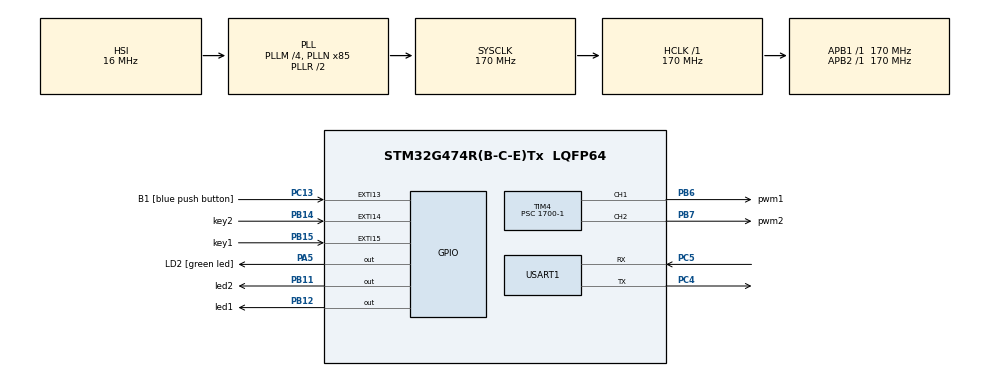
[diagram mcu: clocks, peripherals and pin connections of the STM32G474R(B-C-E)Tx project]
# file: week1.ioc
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Dma.Request0=USART1_RX
Dma.Request1=USART1_TX
Dma.USART1_RX.0.Direction=DMA_PERIPH_TO_MEMORY
Dma.USART1_RX.0.EventEnable=DISABLE
Dma.USART1_RX.0.Instance=DMA1_Channel1
Dma.USART1_RX.0.MemDataAlignment=DMA_MDATAALIGN_BYTE
Dma.USART1_RX.0.MemInc=DMA_MINC_ENABLE
Dma.USART1_RX.0.Mode=DMA_NORMAL
Dma.USART1_RX.0.PeriphDataAlignment=DMA_PDATAALIGN_BYTE
Dma.USART1_RX.0.PeriphInc=DMA_PINC_DISABLE
Dma.USART1_RX.0.Polarity=HAL_DMAMUX_REQ_GEN_RISING
Dma.USART1_RX.0.Priority=DMA_PRIORITY_LOW
Dma.USART1_RX.0.RequestNumber=1
Dma.USART1_RX.0.SignalID=NONE
Dma.USART1_RX.0.SyncEnable=DISABLE
Dma.USART1_RX.0.SyncPolarity=HAL_DMAMUX_SYNC_NO_EVENT
Dma.USART1_RX.0.SyncRequestNumber=1
Dma.USART1_RX.0.SyncSignalID=NONE
Dma.USART1_TX.1.Direction=DMA_MEMORY_TO_PERIPH
Dma.USART1_TX.1.EventEnable=DISABLE
Dma.USART1_TX.1.Instance=DMA1_Channel2
Dma.USART1_TX.1.MemDataAlignment=DMA_MDATAALIGN_BYTE
Dma.USART1_TX.1.MemInc=DMA_MINC_ENABLE
Dma.USART1_TX.1.Mode=DMA_NORMAL
Dma.USART1_TX.1.PeriphDataAlignment=DMA_PDATAALIGN_BYTE
Dma.USART1_TX.1.PeriphInc=DMA_PINC_DISABLE
Dma.USART1_TX.1.Polarity=HAL_DMAMUX_REQ_GEN_RISING
Dma.USART1_TX.1.Priority=DMA_PRIORITY_LOW
Dma.USART1_TX.1.RequestNumber=1
Dma.USART1_TX.1.SignalID=NONE
Dma.USART1_TX.1.SyncEnable=DISABLE
Dma.USART1_TX.1.SyncPolarity=HAL_DMAMUX_SYNC_NO_EVENT
Dma.USART1_TX.1.SyncRequestNumber=1
Dma.USART1_TX.1.SyncSignalID=NONE
Mcu.Family=STM32G4
Mcu.Name=STM32G474R(B-C-E)Tx
Mcu.Package=LQFP64
NVIC.DMA1_Channel1_IRQn=true\:0\:0\:false\:false\:true\:false\:true\:true
NVIC.DMA1_Channel2_IRQn=true\:0\:0\:false\:false\:true\:false\:true\:true
NVIC.EXTI15_10_IRQn=true\:11\:0\:true\:false\:true\:true\:true\:true
NVIC.PriorityGroup=NVIC_PRIORITYGROUP_4
NVIC.TIM2_IRQn=true\:12\:0\:true\:false\:true\:true\:true\:true
NVIC.TIM3_IRQn=true\:13\:0\:true\:false\:true\:true\:true\:true
NVIC.USART1_IRQn=true\:14\:0\:true\:false\:true\:true\:true\:true
PA13.GPIO_Label=T_SWDIO
PA13.Mode=Serial_Wire
PA13.Signal=SYS_JTMS-SWDIO
PA14.GPIO_Label=T_SWCLK
PA14.Mode=Serial_Wire
PA14.Signal=SYS_JTCK-SWCLK
PA2.GPIO_Label=LPUART1_TX [STLINKV3E_VCP_RX]
PA2.Signal=LPUART1_TX
PA3.GPIO_Label=LPUART1_RX [STLINKV3E_VCP_TX]
PA3.Signal=LPUART1_RX
PA5.GPIO_Label=LD2 [green led]
PA5.PinState=GPIO_PIN_SET
PA5.Signal=GPIO_Output
PB11.GPIO_Label=led2
PB11.PinState=GPIO_PIN_SET
PB11.Signal=GPIO_Output
PB12.GPIO_Label=led1
PB12.PinState=GPIO_PIN_SET
PB12.Signal=GPIO_Output
PB14.GPIO_Label=key2
PB14.GPIO_ModeDefaultEXTI=GPIO_MODE_IT_FALLING
PB14.Signal=GPXTI14
PB15.GPIO_Label=key1
PB15.GPIO_ModeDefaultEXTI=GPIO_MODE_IT_FALLING
PB15.Signal=GPXTI15
PB3.GPIO_Label=T_SWO
PB3.Signal=SYS_JTDO-SWO
PB6.GPIO_Label=pwm1
PB6.Signal=S_TIM4_CH1
PB7.GPIO_Label=pwm2
PB7.Signal=S_TIM4_CH2
PB9.Signal=S_TIM4_CH4
PC13.GPIO_Label=B1 [blue push button]
PC13.Signal=GPXTI13
PC14-OSC32_IN.GPIO_Label=RCC_OSC32_IN
PC14-OSC32_IN.Mode=LSE-External-Oscillator
PC14-OSC32_IN.Signal=RCC_OSC32_IN
PC15-OSC32_OUT.GPIO_Label=RCC_OSC32_OUT
PC15-OSC32_OUT.Mode=LSE-External-Oscillator
PC15-OSC32_OUT.Signal=RCC_OSC32_OUT
PC4.Mode=Asynchronous
PC4.Signal=USART1_TX
PC5.Mode=Asynchronous
PC5.Signal=USART1_RX
PF0-OSC_IN.GPIO_Label=RCC_OSC_IN
PF0-OSC_IN.Mode=HSE-External-Oscillator
PF0-OSC_IN.Signal=RCC_OSC_IN
PF1-OSC_OUT.GPIO_Label=RCC_OSC_OUT
PF1-OSC_OUT.Mode=HSE-External-Oscillator
PF1-OSC_OUT.Signal=RCC_OSC_OUT
ProjectManager.HeapSize=0x200
ProjectManager.StackSize=0x400
ProjectManager.TargetToolchain=CMake
RCC.ADC12Freq_Value=170000000
RCC.ADC345Freq_Value=170000000
RCC.AHBFreq_Value=170000000
RCC.APB1Freq_Value=170000000
RCC.APB1TimFreq_Value=170000000
RCC.APB2Freq_Value=170000000
RCC.APB2TimFreq_Value=170000000
RCC.CortexFreq_Value=170000000
RCC.EXTERNAL_CLOCK_VALUE=12288000
RCC.HCLKFreq_Value=170000000
RCC.HSE_VALUE=24000000
RCC.HSI48_VALUE=48000000
RCC.HSI_VALUE=16000000
RCC.PLLM=RCC_PLLM_DIV4
RCC.PLLN=85
RCC.RTCClockSelection=RCC_RTCCLKSOURCE_LSE
RCC.SYSCLKFreq_VALUE=170000000
RCC.SYSCLKSource=RCC_SYSCLKSOURCE_PLLCLK
RCC.USBFreq_Value=170000000
RCC.VCOOutputFreq_Value=340000000
SH.S_TIM4_CH1.0=TIM4_CH1,PWM Generation1 CH1
SH.S_TIM4_CH2.0=TIM4_CH2,PWM Generation2 CH2
SH.S_TIM4_CH4.0=TIM4_CH4
TIM2.PeriodNoDither=100-1
TIM2.Prescaler=1700-1
TIM3.PeriodNoDither=50000-1
TIM3.Prescaler=1700-1
TIM4.Channel-PWM\ Generation1\ CH1=TIM_CHANNEL_1
TIM4.Channel-PWM\ Generation2\ CH2=TIM_CHANNEL_2
TIM4.PeriodNoDither=100-1
TIM4.Prescaler=1700-1
TIM4.PulseNoDither_1=0
USART1.VirtualMode-Asynchronous=VM_ASYNC
VP_SYS_VS_DBSignals.Mode=DisableDeadBatterySignals
VP_TIM2_VS_ClockSourceINT.Mode=Internal
VP_TIM3_VS_ClockSourceINT.Mode=Internal
board=NUCLEO-G474RE

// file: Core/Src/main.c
/* USER CODE BEGIN Header */
/**
  ******************************************************************************
  * @file           : main.c
  * @brief          : Main program body
  ******************************************************************************
  * @attention
  *
  * Copyright (c) 2025 STMicroelectronics.
  * All rights reserved.
  *
  * This software is licensed under terms that can be found in the LICENSE file
  * in the root directory of this software component.
  * If no LICENSE file comes with this software, it is provided AS-IS.
  *
  ******************************************************************************
  */
/* USER CODE END Header */
#include "main.h"
#include "dma.h"
#include "tim.h"
#include "usart.h"
#include "gpio.h"

/* USER CODE BEGIN Includes */
#include "stdio.h"
#include "string.h"
/* USER CODE END Includes */

/* USER CODE BEGIN PV */
volatile struct {
  uint16_t exti_pin;      // 触发中断的引脚
  GPIO_TypeDef* port;     // 引脚端口
  uint8_t active;         // 消抖进行中标志
} debounce_info={0};
char message[50];
char receivedata[50];
extern DMA_HandleTypeDef hdma_usart1_rx;
/* USER CODE END PV */

void SystemClock_Config(void);
/* USER CODE BEGIN PFP */
void datapro(char data[],int len);
void pwm_out(int n,int key);
/* USER CODE END PFP */

/* USER CODE BEGIN 0 */
//外部中断回调函数
void HAL_GPIO_EXTI_Callback(uint16_t GPIO_Pin) {
  if(GPIO_Pin==key1_Pin)
  {
    debounce_info.active = 1;
    debounce_info.exti_pin = GPIO_Pin;
    debounce_info.port=key1_GPIO_Port;
    HAL_TIM_Base_Start_IT(&htim2);
  }
  if(GPIO_Pin==key2_Pin)
  {
    debounce_info.active = 1;
    debounce_info.exti_pin = GPIO_Pin;
    debounce_info.port=key2_GPIO_Port;
    HAL_TIM_Base_Start_IT(&htim2);
  }
}

//定时器回调函数
void HAL_TIM_PeriodElapsedCallback(TIM_HandleTypeDef *htim)
{
  if(htim==(&htim2)&&debounce_info.active==1)
  {
    HAL_TIM_Base_Stop_IT(&htim2);
    if(HAL_GPIO_ReadPin(debounce_info.port,debounce_info.exti_pin)==0) {
      if (debounce_info.exti_pin==key1_Pin) {
        HAL_GPIO_TogglePin(led1_GPIO_Port, led1_Pin);
      }
      if (debounce_info.exti_pin==key2_Pin) {
        HAL_GPIO_TogglePin(led2_GPIO_Port, led2_Pin);
      }

    }
    debounce_info.active=0;
  }
  // if (htim==(&htim3)) {
  //   char led_1[5]={0},led_2[5]={0},status[50]={0};
  //   if (HAL_GPIO_ReadPin(led1_GPIO_Port, led1_Pin)==0)
  //      strcpy(led_1,"low");
  //   else
  //     strcpy(led_1,"high");
  //   if (HAL_GPIO_ReadPin(led2_GPIO_Port, led2_Pin)==0)
  //     strcpy(led_2,"low");
  //   else
  //     strcpy(led_2,"high");
  //   sprintf(status,"led1:%s   led2:%s",led_1,led_2);
  //   HAL_UART_Transmit_DMA(&huart1,status,strlen(status));
  // }
}
//接收完成
void HAL_UARTEx_RxEventCallback(UART_HandleTypeDef *huart, uint16_t Size) {
  if (huart==&huart1) {
    datapro(receivedata,strlen(receivedata));
    HAL_UART_Transmit_DMA(&huart1, (uint8_t*)message, strlen(message));
    HAL_UARTEx_ReceiveToIdle_DMA(&huart1, (uint8_t *)receivedata, sizeof(receivedata));
    __HAL_DMA_DISABLE_IT(&hdma_usart1_rx,DMA_IT_HT);
  }
}
void datapro(char data[],int len) {
  if (len==10) {
    __HAL_TIM_SET_COMPARE(&htim4, TIM_CHANNEL_1, 0);
    __HAL_TIM_SET_COMPARE(&htim4, TIM_CHANNEL_2, 0);
  }
  else if (len==12) {
    if (data[8]-'1'==0)
      pwm_out(1,data[9]-'0');
    if (data[8]-'2'==0) {
      pwm_out(2,data[9]-'0');
    }
  }
  else if (len==14) {
    if (data[8]-'1'==0) {
      pwm_out(1,data[9]-'0');
      pwm_out(2,data[11]-'0');
    }
    else if (data[8]-'2'==0) {
      pwm_out(2,data[9]-'0');
      pwm_out(8,data[11]-'0');
    }
  }
}
void pwm_out(int n,int key) {
  if (n==1) {
    switch (key) {
      case 0:
        __HAL_TIM_SET_COMPARE(&htim4, TIM_CHANNEL_1, 0);
        break;
      case 1:
        __HAL_TIM_SET_COMPARE(&htim4, TIM_CHANNEL_1, 24);
        break;
      case 2:
        __HAL_TIM_SET_COMPARE(&htim4, TIM_CHANNEL_1, 49);
        break;
      case 3:
        __HAL_TIM_SET_COMPARE(&htim4, TIM_CHANNEL_1, 74);
        break;
      case 4:
        __HAL_TIM_SET_COMPARE(&htim4, TIM_CHANNEL_1, 99);
        break;
    }
  }
  else if (n==2) {
    switch (key) {
      case 0:
        __HAL_TIM_SET_COMPARE(&htim4, TIM_CHANNEL_2, 0);
        break;
      case 1:
        __HAL_TIM_SET_COMPARE(&htim4, TIM_CHANNEL_2, 24);
        break;
      case 2:
        __HAL_TIM_SET_COMPARE(&htim4, TIM_CHANNEL_2, 49);
        break;
      case 3:
        __HAL_TIM_SET_COMPARE(&htim4, TIM_CHANNEL_2, 74);
        break;
      case 4:
        __HAL_TIM_SET_COMPARE(&htim4, TIM_CHANNEL_2, 99);
        break;
    }
  }

}

/* USER CODE END 0 */

int main(void)
{

  /* MCU Configuration--------------------------------------------------------*/

  /* Reset of all peripherals, Initializes the Flash interface and the Systick. */
  HAL_Init();

  /* Configure the system clock */
  SystemClock_Config();

  /* Initialize all configured peripherals */
  MX_GPIO_Init();
  MX_DMA_Init();
  MX_USART1_UART_Init();
  MX_TIM2_Init();
  MX_TIM3_Init();
  MX_TIM4_Init();
  /* USER CODE BEGIN 2 */
  HAL_UARTEx_ReceiveToIdle_DMA(&huart1,receivedata,sizeof(receivedata));
  __HAL_DMA_DISABLE_IT(&hdma_usart1_rx,DMA_IT_HT);//关闭过半中断
  HAL_TIM_Base_Start_IT(&htim3);//每隔0.5s发送一次状态
  HAL_TIM_PWM_Start(&htim4, TIM_CHANNEL_1);
  HAL_TIM_PWM_Start(&htim4, TIM_CHANNEL_2);
  float you=3.1415;
  int i=0;
  char my[50];
  for (i=0;i<10;i++) {
    sprintf(my,"%d,%.2f",i,you);
    HAL_UART_Transmit_DMA(&huart1,(uint8_t*)my,strlen(my));
    HAL_Delay(100);
  }
  /* USER CODE END 2 */

  /* Infinite loop */
  while (1)
  {

  }
}

void SystemClock_Config(void)
{
  RCC_OscInitTypeDef RCC_OscInitStruct = {0};
  RCC_ClkInitTypeDef RCC_ClkInitStruct = {0};

  /** Configure the main internal regulator output voltage
  */
  HAL_PWREx_ControlVoltageScaling(PWR_REGULATOR_VOLTAGE_SCALE1_BOOST);

  /** Initializes the RCC Oscillators according to the specified parameters
  * in the RCC_OscInitTypeDef structure.
  */
  RCC_OscInitStruct.OscillatorType = RCC_OSCILLATORTYPE_HSI;
  RCC_OscInitStruct.HSIState = RCC_HSI_ON;
  RCC_OscInitStruct.HSICalibrationValue = RCC_HSICALIBRATION_DEFAULT;
  RCC_OscInitStruct.PLL.PLLState = RCC_PLL_ON;
  RCC_OscInitStruct.PLL.PLLSource = RCC_PLLSOURCE_HSI;
  RCC_OscInitStruct.PLL.PLLM = RCC_PLLM_DIV4;
  RCC_OscInitStruct.PLL.PLLN = 85;
  RCC_OscInitStruct.PLL.PLLP = RCC_PLLP_DIV2;
  RCC_OscInitStruct.PLL.PLLQ = RCC_PLLQ_DIV2;
  RCC_OscInitStruct.PLL.PLLR = RCC_PLLR_DIV2;
  if (HAL_RCC_OscConfig(&RCC_OscInitStruct) != HAL_OK)
  {
    Error_Handler();
  }

  /** Initializes the CPU, AHB and APB buses clocks
  */
  RCC_ClkInitStruct.ClockType = RCC_CLOCKTYPE_HCLK|RCC_CLOCKTYPE_SYSCLK
                              |RCC_CLOCKTYPE_PCLK1|RCC_CLOCKTYPE_PCLK2;
  RCC_ClkInitStruct.SYSCLKSource = RCC_SYSCLKSOURCE_PLLCLK;
  RCC_ClkInitStruct.AHBCLKDivider = RCC_SYSCLK_DIV1;
  RCC_ClkInitStruct.APB1CLKDivider = RCC_HCLK_DIV1;
  RCC_ClkInitStruct.APB2CLKDivider = RCC_HCLK_DIV1;

  if (HAL_RCC_ClockConfig(&RCC_ClkInitStruct, FLASH_LATENCY_4) != HAL_OK)
  {
    Error_Handler();
  }
}

void Error_Handler(void)
{
  __disable_irq();
  while (1)
  {
  }
}
